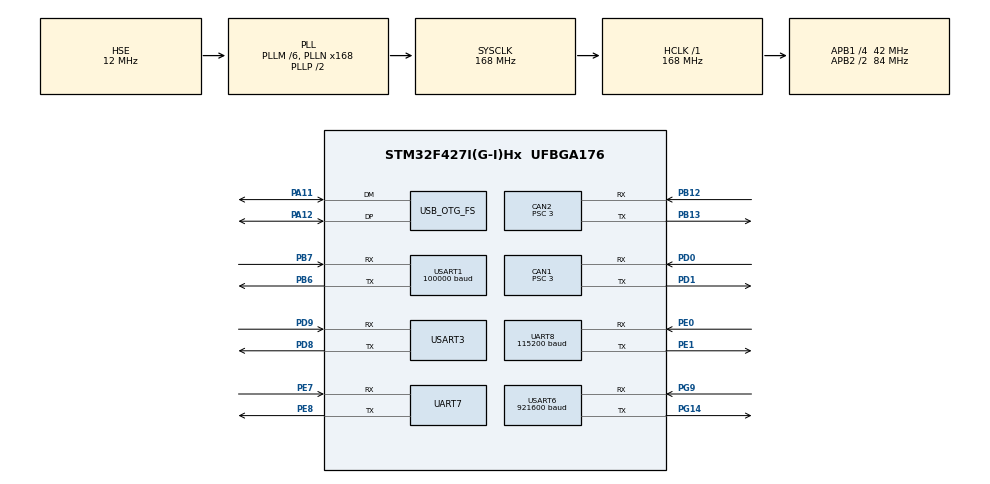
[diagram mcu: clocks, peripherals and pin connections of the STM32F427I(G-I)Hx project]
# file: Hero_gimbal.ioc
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CAN1.ABOM=ENABLE
CAN1.BS1=CAN_BS1_9TQ
CAN1.BS2=CAN_BS2_4TQ
CAN1.CalculateBaudRate=1000000
CAN1.CalculateTimeBit=1000
CAN1.CalculateTimeQuantum=71.42857142857143
CAN1.NART=ENABLE
CAN1.Prescaler=3
CAN2.ABOM=ENABLE
CAN2.BS1=CAN_BS1_9TQ
CAN2.BS2=CAN_BS2_4TQ
CAN2.CalculateBaudRate=1000000
CAN2.CalculateTimeBit=1000
CAN2.CalculateTimeQuantum=71.42857142857143
CAN2.NART=ENABLE
CAN2.Prescaler=3
Dma.Request0=USART1_RX
Dma.Request1=USART1_TX
Dma.Request2=USART3_RX
Dma.Request3=USART3_TX
Dma.Request4=USART6_TX
Dma.Request5=UART8_RX
Dma.Request6=UART8_TX
Dma.Request7=UART7_RX
Dma.UART7_RX.7.Direction=DMA_PERIPH_TO_MEMORY
Dma.UART7_RX.7.FIFOMode=DMA_FIFOMODE_DISABLE
Dma.UART7_RX.7.Instance=DMA1_Stream3
Dma.UART7_RX.7.MemDataAlignment=DMA_MDATAALIGN_BYTE
Dma.UART7_RX.7.MemInc=DMA_MINC_ENABLE
Dma.UART7_RX.7.Mode=DMA_NORMAL
Dma.UART7_RX.7.PeriphDataAlignment=DMA_PDATAALIGN_BYTE
Dma.UART7_RX.7.PeriphInc=DMA_PINC_DISABLE
Dma.UART7_RX.7.Priority=DMA_PRIORITY_LOW
Dma.UART8_RX.5.Direction=DMA_PERIPH_TO_MEMORY
Dma.UART8_RX.5.FIFOMode=DMA_FIFOMODE_DISABLE
Dma.UART8_RX.5.Instance=DMA1_Stream6
Dma.UART8_RX.5.MemDataAlignment=DMA_MDATAALIGN_BYTE
Dma.UART8_RX.5.MemInc=DMA_MINC_ENABLE
Dma.UART8_RX.5.Mode=DMA_NORMAL
Dma.UART8_RX.5.PeriphDataAlignment=DMA_PDATAALIGN_BYTE
Dma.UART8_RX.5.PeriphInc=DMA_PINC_DISABLE
Dma.UART8_RX.5.Priority=DMA_PRIORITY_LOW
Dma.UART8_TX.6.Direction=DMA_MEMORY_TO_PERIPH
Dma.UART8_TX.6.FIFOMode=DMA_FIFOMODE_DISABLE
Dma.UART8_TX.6.Instance=DMA1_Stream0
Dma.UART8_TX.6.MemDataAlignment=DMA_MDATAALIGN_BYTE
Dma.UART8_TX.6.MemInc=DMA_MINC_ENABLE
Dma.UART8_TX.6.Mode=DMA_NORMAL
Dma.UART8_TX.6.PeriphDataAlignment=DMA_PDATAALIGN_BYTE
Dma.UART8_TX.6.PeriphInc=DMA_PINC_DISABLE
Dma.UART8_TX.6.Priority=DMA_PRIORITY_LOW
Dma.USART1_RX.0.Direction=DMA_PERIPH_TO_MEMORY
Dma.USART1_RX.0.FIFOMode=DMA_FIFOMODE_DISABLE
Dma.USART1_RX.0.Instance=DMA2_Stream2
Dma.USART1_RX.0.MemDataAlignment=DMA_MDATAALIGN_BYTE
Dma.USART1_RX.0.MemInc=DMA_MINC_ENABLE
Dma.USART1_RX.0.Mode=DMA_NORMAL
Dma.USART1_RX.0.PeriphDataAlignment=DMA_PDATAALIGN_BYTE
Dma.USART1_RX.0.PeriphInc=DMA_PINC_DISABLE
Dma.USART1_RX.0.Priority=DMA_PRIORITY_LOW
Dma.USART1_TX.1.Direction=DMA_MEMORY_TO_PERIPH
Dma.USART1_TX.1.FIFOMode=DMA_FIFOMODE_DISABLE
Dma.USART1_TX.1.Instance=DMA2_Stream7
Dma.USART1_TX.1.MemDataAlignment=DMA_MDATAALIGN_BYTE
Dma.USART1_TX.1.MemInc=DMA_MINC_ENABLE
Dma.USART1_TX.1.Mode=DMA_NORMAL
Dma.USART1_TX.1.PeriphDataAlignment=DMA_PDATAALIGN_BYTE
Dma.USART1_TX.1.PeriphInc=DMA_PINC_DISABLE
Dma.USART1_TX.1.Priority=DMA_PRIORITY_LOW
Dma.USART3_RX.2.Direction=DMA_PERIPH_TO_MEMORY
Dma.USART3_RX.2.FIFOMode=DMA_FIFOMODE_DISABLE
Dma.USART3_RX.2.Instance=DMA1_Stream1
Dma.USART3_RX.2.MemDataAlignment=DMA_MDATAALIGN_BYTE
Dma.USART3_RX.2.MemInc=DMA_MINC_ENABLE
Dma.USART3_RX.2.Mode=DMA_NORMAL
Dma.USART3_RX.2.PeriphDataAlignment=DMA_PDATAALIGN_BYTE
Dma.USART3_RX.2.PeriphInc=DMA_PINC_DISABLE
Dma.USART3_RX.2.Priority=DMA_PRIORITY_LOW
Dma.USART3_TX.3.Direction=DMA_MEMORY_TO_PERIPH
Dma.USART3_TX.3.FIFOMode=DMA_FIFOMODE_DISABLE
Dma.USART3_TX.3.Instance=DMA1_Stream4
Dma.USART3_TX.3.MemDataAlignment=DMA_MDATAALIGN_BYTE
Dma.USART3_TX.3.MemInc=DMA_MINC_ENABLE
Dma.USART3_TX.3.Mode=DMA_NORMAL
Dma.USART3_TX.3.PeriphDataAlignment=DMA_PDATAALIGN_BYTE
Dma.USART3_TX.3.PeriphInc=DMA_PINC_DISABLE
Dma.USART3_TX.3.Priority=DMA_PRIORITY_LOW
Dma.USART6_TX.4.Direction=DMA_MEMORY_TO_PERIPH
Dma.USART6_TX.4.FIFOMode=DMA_FIFOMODE_DISABLE
Dma.USART6_TX.4.Instance=DMA2_Stream6
Dma.USART6_TX.4.MemDataAlignment=DMA_MDATAALIGN_BYTE
Dma.USART6_TX.4.MemInc=DMA_MINC_ENABLE
Dma.USART6_TX.4.Mode=DMA_NORMAL
Dma.USART6_TX.4.PeriphDataAlignment=DMA_PDATAALIGN_BYTE
Dma.USART6_TX.4.PeriphInc=DMA_PINC_DISABLE
Dma.USART6_TX.4.Priority=DMA_PRIORITY_LOW
FREERTOS.Tasks01=defaultTask,24,128,StartDefaultTask,Default,NULL,Dynamic,NULL,NULL
FREERTOS.configTOTAL_HEAP_SIZE=32768
Mcu.Family=STM32F4
Mcu.Name=STM32F427I(G-I)Hx
Mcu.Package=UFBGA176
NVIC.CAN1_RX0_IRQn=true\:6\:0\:true\:false\:true\:true\:true\:true\:true
NVIC.CAN1_RX1_IRQn=true\:6\:0\:true\:false\:true\:true\:true\:true\:true
NVIC.CAN2_RX0_IRQn=true\:6\:0\:true\:false\:true\:true\:true\:true\:true
NVIC.CAN2_RX1_IRQn=true\:6\:0\:true\:false\:true\:true\:true\:true\:true
NVIC.DMA1_Stream0_IRQn=true\:5\:0\:false\:false\:true\:true\:false\:true\:true
NVIC.DMA1_Stream1_IRQn=true\:5\:0\:false\:false\:true\:true\:false\:true\:true
NVIC.DMA1_Stream3_IRQn=true\:5\:0\:false\:false\:true\:true\:false\:true\:true
NVIC.DMA1_Stream4_IRQn=true\:5\:0\:false\:false\:true\:false\:false\:true\:true
NVIC.DMA1_Stream6_IRQn=true\:5\:0\:false\:false\:true\:true\:false\:true\:true
NVIC.DMA2_Stream2_IRQn=true\:5\:0\:false\:false\:true\:true\:false\:true\:true
NVIC.DMA2_Stream6_IRQn=true\:5\:0\:false\:false\:true\:true\:false\:true\:true
NVIC.DMA2_Stream7_IRQn=true\:5\:0\:false\:false\:true\:true\:false\:true\:true
NVIC.OTG_FS_IRQn=true\:5\:0\:false\:false\:true\:true\:true\:true\:true
NVIC.PriorityGroup=NVIC_PRIORITYGROUP_4
NVIC.TIM8_TRG_COM_TIM14_IRQn=true\:15\:0\:false\:false\:true\:false\:false\:true\:true
NVIC.TimeBase=TIM8_TRG_COM_TIM14_IRQn
NVIC.TimeBaseIP=TIM14
NVIC.UART7_IRQn=true\:5\:0\:false\:false\:true\:true\:true\:true\:true
NVIC.UART8_IRQn=true\:5\:0\:true\:false\:true\:true\:true\:true\:true
NVIC.USART1_IRQn=true\:6\:0\:true\:false\:true\:true\:false\:true\:true
NVIC.USART3_IRQn=true\:6\:0\:true\:false\:true\:true\:false\:true\:true
NVIC.USART6_IRQn=true\:6\:0\:true\:false\:true\:true\:false\:true\:true
PA11.Mode=Device_Only
PA11.Signal=USB_OTG_FS_DM
PA12.Mode=Device_Only
PA12.Signal=USB_OTG_FS_DP
PA13.Mode=Serial_Wire
PA13.Signal=SYS_JTMS-SWDIO
PA14.Mode=Serial_Wire
PA14.Signal=SYS_JTCK-SWCLK
PB12.Mode=CAN_Activate
PB12.Signal=CAN2_RX
PB13.Mode=CAN_Activate
PB13.Signal=CAN2_TX
PB6.Mode=Asynchronous
PB6.Signal=USART1_TX
PB7.Mode=Asynchronous
PB7.Signal=USART1_RX
PD0.Mode=CAN_Activate
PD0.Signal=CAN1_RX
PD1.Mode=CAN_Activate
PD1.Signal=CAN1_TX
PD8.Mode=Asynchronous
PD8.Signal=USART3_TX
PD9.Mode=Asynchronous
PD9.Signal=USART3_RX
PE0.Mode=Asynchronous
PE0.Signal=UART8_RX
PE1.Mode=Asynchronous
PE1.Signal=UART8_TX
PE7.Mode=Asynchronous
PE7.Signal=UART7_RX
PE8.Mode=Asynchronous
PE8.Signal=UART7_TX
PG14.Mode=Asynchronous
PG14.Signal=USART6_TX
PG9.Mode=Asynchronous
PG9.Signal=USART6_RX
PH0/OSC_IN.Mode=HSE-External-Oscillator
PH0/OSC_IN.Signal=RCC_OSC_IN
PH1/OSC_OUT.Mode=HSE-External-Oscillator
PH1/OSC_OUT.Signal=RCC_OSC_OUT
ProjectManager.HeapSize=0x2000
ProjectManager.StackSize=0x1000
ProjectManager.TargetToolchain=MDK-ARM V5.32
RCC.48MHZClocksFreq_Value=48000000
RCC.AHBFreq_Value=168000000
RCC.APB1CLKDivider=RCC_HCLK_DIV4
RCC.APB1Freq_Value=42000000
RCC.APB1TimFreq_Value=84000000
RCC.APB2CLKDivider=RCC_HCLK_DIV2
RCC.APB2Freq_Value=84000000
RCC.APB2TimFreq_Value=168000000
RCC.CortexFreq_Value=168000000
RCC.HCLKFreq_Value=168000000
RCC.HSE_VALUE=12000000
RCC.HSI_VALUE=16000000
RCC.LSE_VALUE=32768
RCC.PLLM=6
RCC.PLLN=168
RCC.PLLQ=7
RCC.SYSCLKFreq_VALUE=168000000
RCC.SYSCLKSource=RCC_SYSCLKSOURCE_PLLCLK
RCC.VCOOutputFreq_Value=336000000
UART7.VirtualMode=Asynchronous
UART8.BaudRate=115200
UART8.VirtualMode=Asynchronous
USART1.BaudRate=100000
USART1.Parity=PARITY_EVEN
USART1.VirtualMode=VM_ASYNC
USART1.WordLength=WORDLENGTH_9B
USART3.VirtualMode=VM_ASYNC
USART6.BaudRate=921600
USART6.VirtualMode=VM_ASYNC
USB_DEVICE.CLASS_NAME_FS=CDC
USB_DEVICE.VirtualMode-CDC_FS=Cdc
USB_DEVICE.VirtualModeFS=Cdc_FS
USB_OTG_FS.VirtualMode=Device_Only
VP_FREERTOS_VS_CMSIS_V2.Mode=CMSIS_V2
VP_SYS_VS_tim14.Mode=TIM14
VP_TIM6_VS_ClockSourceINT.Mode=Enable_Timer
VP_USB_DEVICE_VS_USB_DEVICE_CDC_FS.Mode=CDC_FS
board=custom

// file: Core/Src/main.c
/* USER CODE BEGIN Header */
/**
  ******************************************************************************
  * @file           : main.c
  * @brief          : Main program body
  ******************************************************************************
  * @attention
  *
  * Copyright (c) 2026 STMicroelectronics.
  * All rights reserved.
  *
  * This software is licensed under terms that can be found in the LICENSE file
  * in the root directory of this software component.
  * If no LICENSE file comes with this software, it is provided AS-IS.
  *
  ******************************************************************************
  */
/* USER CODE END Header */
#include "main.h"
#include "cmsis_os.h"
#include "can.h"
#include "dma.h"
#include "tim.h"
#include "usart.h"
#include "usb_device.h"
#include "gpio.h"

/* USER CODE BEGIN Includes */
#include "can_send_task.hpp"

/* USER CODE END Includes */

void SystemClock_Config(void);
void MX_FREERTOS_Init(void);

int main(void)
	{

  /* MCU Configuration--------------------------------------------------------*/

  /* Reset of all peripherals, Initializes the Flash interface and the Systick. */
  HAL_Init();

  /* Configure the system clock */
  SystemClock_Config();

  /* Initialize all configured peripherals */
  MX_GPIO_Init();
  MX_DMA_Init();
  MX_CAN1_Init();
  MX_CAN2_Init();
  MX_USART1_UART_Init();
  MX_USART3_UART_Init();
  MX_USART6_UART_Init();
  MX_TIM6_Init();
  MX_UART8_Init();
  MX_UART7_Init();
  /* USER CODE BEGIN 2 */

// 1. 启动 CAN 硬件 (HAL_CAN_Start)

  /* USER CODE END 2 */

  /* Init scheduler */
  osKernelInitialize();  /* Call init function for freertos objects (in cmsis_os2.c) */
  MX_FREERTOS_Init();

  /* Start scheduler */
  osKernelStart();

  /* We should never get here as control is now taken by the scheduler */

  /* Infinite loop */
  while (1)
  {

  }
}

void SystemClock_Config(void)
{
  RCC_OscInitTypeDef RCC_OscInitStruct = {0};
  RCC_ClkInitTypeDef RCC_ClkInitStruct = {0};

  /** Configure the main internal regulator output voltage
  */
  __HAL_RCC_PWR_CLK_ENABLE();
  __HAL_PWR_VOLTAGESCALING_CONFIG(PWR_REGULATOR_VOLTAGE_SCALE1);

  /** Initializes the RCC Oscillators according to the specified parameters
  * in the RCC_OscInitTypeDef structure.
  */
  RCC_OscInitStruct.OscillatorType = RCC_OSCILLATORTYPE_HSE;
  RCC_OscInitStruct.HSEState = RCC_HSE_ON;
  RCC_OscInitStruct.PLL.PLLState = RCC_PLL_ON;
  RCC_OscInitStruct.PLL.PLLSource = RCC_PLLSOURCE_HSE;
  RCC_OscInitStruct.PLL.PLLM = 6;
  RCC_OscInitStruct.PLL.PLLN = 168;
  RCC_OscInitStruct.PLL.PLLP = RCC_PLLP_DIV2;
  RCC_OscInitStruct.PLL.PLLQ = 7;
  if (HAL_RCC_OscConfig(&RCC_OscInitStruct) != HAL_OK)
  {
    Error_Handler();
  }

  /** Initializes the CPU, AHB and APB buses clocks
  */
  RCC_ClkInitStruct.ClockType = RCC_CLOCKTYPE_HCLK|RCC_CLOCKTYPE_SYSCLK
                              |RCC_CLOCKTYPE_PCLK1|RCC_CLOCKTYPE_PCLK2;
  RCC_ClkInitStruct.SYSCLKSource = RCC_SYSCLKSOURCE_PLLCLK;
  RCC_ClkInitStruct.AHBCLKDivider = RCC_SYSCLK_DIV1;
  RCC_ClkInitStruct.APB1CLKDivider = RCC_HCLK_DIV4;
  RCC_ClkInitStruct.APB2CLKDivider = RCC_HCLK_DIV2;

  if (HAL_RCC_ClockConfig(&RCC_ClkInitStruct, FLASH_LATENCY_5) != HAL_OK)
  {
    Error_Handler();
  }
}

void HAL_TIM_PeriodElapsedCallback(TIM_HandleTypeDef *htim)
{
  if (htim->Instance == TIM14)
  {
    HAL_IncTick();
  }
}

void Error_Handler(void)
{
  __disable_irq();
  while (1)
  {
  }
}

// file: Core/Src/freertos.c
/* USER CODE BEGIN Header */
/**
  ******************************************************************************
  * File Name          : freertos.c
  * Description        : Code for freertos applications
  ******************************************************************************
  * @attention
  *
  * Copyright (c) 2026 STMicroelectronics.
  * All rights reserved.
  *
  * This software is licensed under terms that can be found in the LICENSE file
  * in the root directory of this software component.
  * If no LICENSE file comes with this software, it is provided AS-IS.
  *
  ******************************************************************************
  */
/* USER CODE END Header */

#include "FreeRTOS.h"
#include "task.h"
#include "main.h"
#include "cmsis_os.h"

/* USER CODE BEGIN Includes */
#include "can_send_task.hpp"
#include "gimbal_task.hpp"
#include "remote_control_task.hpp"
#include "usb_device.h"
/* USER CODE END Includes */

/* Definitions for defaultTask */
osThreadId_t defaultTaskHandle;
const osThreadAttr_t defaultTask_attributes = {
  .name = "defaultTask",
  .stack_size = 128 * 4,
  .priority = (osPriority_t) osPriorityNormal,
};

/* USER CODE BEGIN FunctionPrototypes */
BaseType_t start_remote_control;
BaseType_t start_can_send;
BaseType_t start_gimbal;

TaskHandle_t xRemoteHandle;
TaskHandle_t xCanSendHandle;
TaskHandle_t xGimbalHandle;

/* USER CODE END FunctionPrototypes */

void StartDefaultTask(void *argument);

extern void MX_USB_DEVICE_Init(void);
void MX_FREERTOS_Init(void); /* (MISRA C 2004 rule 8.1) */

void MX_FREERTOS_Init(void) {

  /* USER CODE BEGIN RTOS_QUEUES */
  /* add queues, ... */
//	#ifdef __cplusplus
//extern "C" {
//#endif
//extern void MX_USB_DEVICE_Init(void);
//#ifdef __cplusplus
//}
//#endif
  /* USER CODE END RTOS_QUEUES */

  /* Create the thread(s) */
  /* creation of defaultTask */
  //defaultTaskHandle = osThreadNew(StartDefaultTask, NULL, &defaultTask_attributes);

  /* USER CODE BEGIN RTOS_THREADS */
  MX_USB_DEVICE_Init();
 start_can_send =  xTaskCreate(can_send_task, "CAN_Send_Task", 2048, NULL, osPriorityAboveNormal+2, &xCanSendHandle);
  start_gimbal = xTaskCreate(gimbal_task, "Gimbal_Task", 1024, NULL, osPriorityAboveNormal+1, &xGimbalHandle);
  start_remote_control = xTaskCreate(remote_control_task, "Remote_Control_Task", 512, NULL, osPriorityAboveNormal, &xRemoteHandle);

  /* add threads, ... */
  /* USER CODE END RTOS_THREADS */

}

void StartDefaultTask(void *argument)
{
  /* init code for USB_DEVICE */
  MX_USB_DEVICE_Init();
  for(;;)
  {
    osDelay(1);
  }
}
